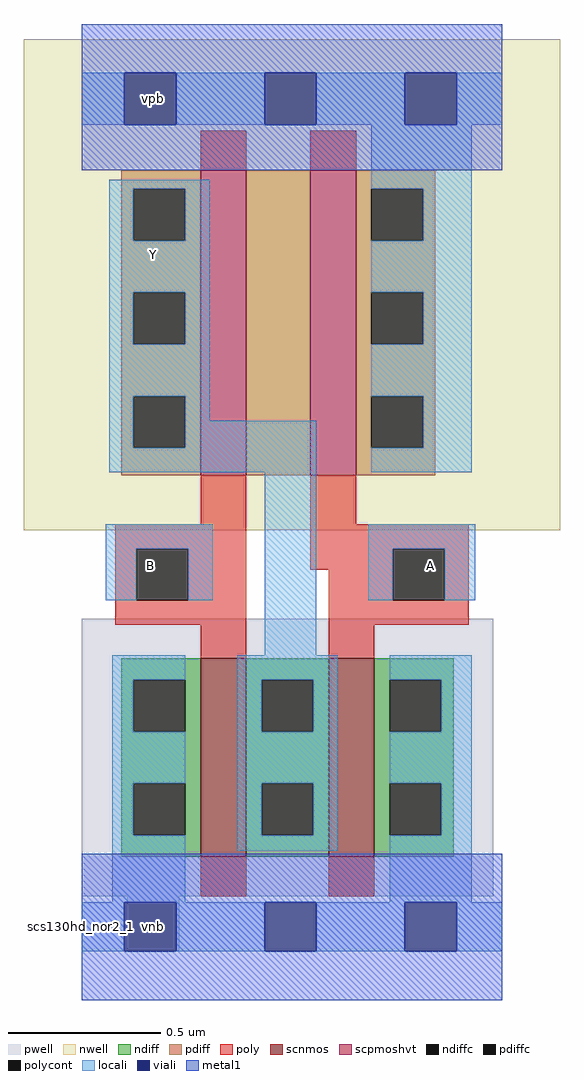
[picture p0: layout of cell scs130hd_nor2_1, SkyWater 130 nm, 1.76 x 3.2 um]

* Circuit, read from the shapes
.subckt scs130hd_nor2_1 vpb vnb vpwr vgnd Y B A
XM1 Y B vgnd vnb sky130_fd_pr__nfet_01v8 w=0.65 l=0.15
XM2 vgnd A Y vnb sky130_fd_pr__nfet_01v8 w=0.65 l=0.15
XM3 n1 B Y vpb sky130_fd_pr__pfet_01v8_hvt w=1 l=0.15
XM4 vpwr A n1 vpb sky130_fd_pr__pfet_01v8_hvt w=1 l=0.15
.ends

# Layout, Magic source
magic
tech sky130B
<< nwell >>
rect -19 130 157 291
<< pwell >>
rect 0 10 135 101
rect 15 -8 32 10
<< scnmos >>
rect 39 23 54 88
rect 81 23 96 88
<< scpmoshvt >>
rect 39 148 54 248
rect 75 148 90 248
<< ndiff >>
rect 13 81 39 88
rect 13 64 17 81
rect 34 64 39 81
rect 13 47 39 64
rect 13 30 17 47
rect 34 30 39 47
rect 13 23 39 30
rect 54 81 81 88
rect 54 64 59 81
rect 76 64 81 81
rect 54 47 81 64
rect 54 30 59 47
rect 76 30 81 47
rect 54 23 81 30
rect 96 81 122 88
rect 96 64 101 81
rect 118 64 122 81
rect 96 47 122 64
rect 96 30 101 47
rect 118 30 122 47
rect 96 23 122 30
<< pdiff >>
rect 13 242 39 248
rect 13 225 17 242
rect 34 225 39 242
rect 13 208 39 225
rect 13 191 17 208
rect 34 191 39 208
rect 13 174 39 191
rect 13 157 17 174
rect 34 157 39 174
rect 13 148 39 157
rect 54 148 75 248
rect 90 242 116 248
rect 90 225 95 242
rect 112 225 116 242
rect 90 208 116 225
rect 90 191 95 208
rect 112 191 116 208
rect 90 174 116 191
rect 90 157 95 174
rect 112 157 116 174
rect 90 148 116 157
<< ndiffc >>
rect 17 64 34 81
rect 17 30 34 47
rect 59 64 76 81
rect 59 30 76 47
rect 101 64 118 81
rect 101 30 118 47
<< pdiffc >>
rect 17 225 34 242
rect 17 191 34 208
rect 17 157 34 174
rect 95 225 112 242
rect 95 191 112 208
rect 95 157 112 174
<< poly >>
rect 39 248 54 261
rect 75 248 90 261
rect 39 132 54 148
rect 11 124 54 132
rect 11 107 18 124
rect 35 107 54 124
rect 75 132 90 148
rect 75 124 127 132
rect 75 117 102 124
rect 11 99 54 107
rect 39 88 54 99
rect 81 107 102 117
rect 119 107 127 124
rect 81 99 127 107
rect 81 88 96 99
rect 39 10 54 23
rect 81 10 96 23
<< polycont >>
rect 18 107 35 124
rect 102 107 119 124
<< locali >>
rect 0 263 14 280
rect 31 263 60 280
rect 77 263 106 280
rect 123 263 138 280
rect 9 242 42 245
rect 9 225 17 242
rect 34 225 42 242
rect 9 208 42 225
rect 9 191 17 208
rect 34 191 42 208
rect 9 174 42 191
rect 9 157 17 174
rect 34 166 42 174
rect 95 242 128 263
rect 112 225 128 242
rect 95 208 128 225
rect 112 191 128 208
rect 95 174 128 191
rect 34 157 77 166
rect 9 149 77 157
rect 112 157 128 174
rect 95 149 128 157
rect 8 124 43 132
rect 8 107 18 124
rect 35 107 43 124
rect 60 89 77 149
rect 94 124 129 132
rect 94 107 102 124
rect 119 107 129 124
rect 10 81 34 89
rect 10 64 17 81
rect 10 47 34 64
rect 10 30 17 47
rect 10 8 34 30
rect 51 81 84 89
rect 51 64 59 81
rect 76 64 84 81
rect 51 47 84 64
rect 51 30 59 47
rect 76 30 84 47
rect 51 25 84 30
rect 101 81 128 89
rect 118 64 128 81
rect 101 47 128 64
rect 118 30 128 47
rect 101 8 128 30
rect 0 -8 14 8
rect 31 -8 60 8
rect 77 -8 106 8
rect 123 -8 138 8
<< viali >>
rect 14 263 31 280
rect 60 263 77 280
rect 106 263 123 280
rect 14 -8 31 8
rect 60 -8 77 8
rect 106 -8 123 8
<< metal1 >>
rect 0 280 138 296
rect 0 263 14 280
rect 31 263 60 280
rect 77 263 106 280
rect 123 263 138 280
rect 0 248 138 263
rect 0 8 138 24
rect 0 -8 14 8
rect 31 -8 60 8
rect 77 -8 106 8
rect 123 -8 138 8
rect 0 -24 138 -8
<< labels >>
flabel locali s 106 110 123 127 0 FreeSans 100 0 0 0 A
port 8 nsew
flabel locali s 15 212 32 229 0 FreeSans 100 0 0 0 Y
port 6 nsew
flabel locali s 14 110 31 127 0 FreeSans 100 0 0 0 B
port 7 nsew
flabel nwell s 15 263 32 280 0 FreeSans 100 0 0 0 vpb
port 2 nsew
flabel pwell s 15 -8 32 8 0 FreeSans 100 0 0 0 vnb
port 3 nsew
flabel metal1 s 15 263 32 280 0 FreeSans 100 0 0 0 vpwr
port 4 nsew
flabel metal1 s 15 -8 32 8 0 FreeSans 100 0 0 0 vgnd
port 5 nsew
rlabel comment s 0 0 0 0 4 scs130hd_nor2_1
<< properties >>
string FIXED_BBOX 0 0 138 272
<< end >>
